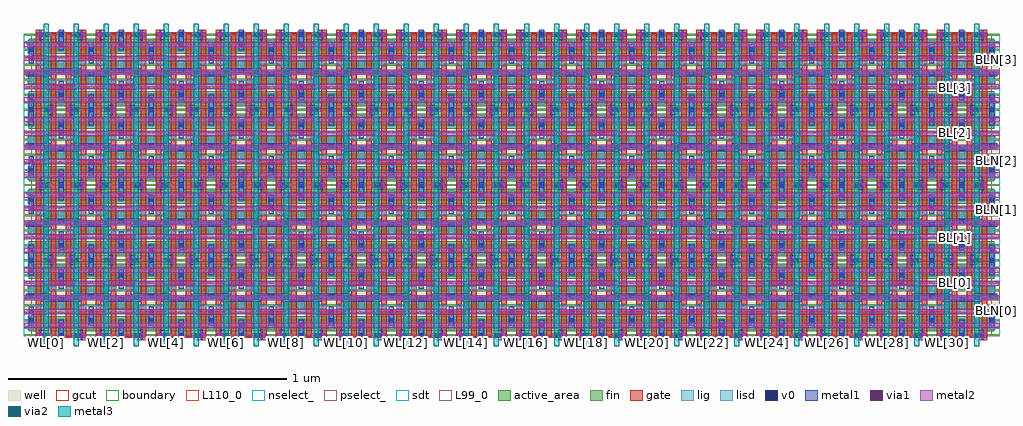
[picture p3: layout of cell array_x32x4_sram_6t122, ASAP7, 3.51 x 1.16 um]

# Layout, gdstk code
from math import pi, radians
import gdstk
lib = gdstk.Library(unit=1e-6, precision=2.5e-10)
def R(c, l, rs):  # rectangles x0, y0, x1, y1
    for r in rs: c.add(gdstk.rectangle(r[:2], r[2:], *l))
def A(c, l, x, y, w, h, nx, ny, dx, dy):  # array of equal rectangles
    R(c, l, [(x+i*dx, y+j*dy, x+i*dx+w, y+j*dy+h) for i in range(nx) for j in range(ny)])
def P(c, l, *ps):  # polygons
    for p in ps: c.add(gdstk.Polygon(p, *l))
well = (1, 0)
fin = (2, 0)
gate = (7, 0)
gcut = (10, 0)
active_area = (11, 0)
nselect_ = (12, 0)
pselect_ = (13, 0)
lig = (16, 0)
lisd = (17, 0)
v0 = (18, 0)
metal1 = (19, 0)
metal2 = (20, 0)
via1 = (21, 0)
via2 = (25, 0)
metal3 = (30, 0)
sdt = (88, 0)
L99_0 = (99, 0)
boundary = (100, 0)
L110_0 = (110, 0)

sram_cell_6t_122 = lib.new_cell('sram_cell_6t_122')
R(sram_cell_6t_122, well, [(-0.027,0.081,0.135,0.189)])
A(sram_cell_6t_122, fin, -0.027, -0.0035, 0.162, 0.007, 1, 11, 0, 0.027)
R(sram_cell_6t_122, gate, [(0.017,-0.019,0.037,0.277), (0.071,-0.007,0.091,0.289)])
R(sram_cell_6t_122, gcut, [(0.054,-0.0085,0.1085,0.0085), (0,0.0715,0.054,0.0885), (0.054,0.1815,0.108,0.1985), (0,0.2615,0.054,0.2785)])
R(sram_cell_6t_122, active_area, [(-0.008,0.0135,0.116,0.0675), (0.046,0.0945,0.116,0.1215), (-0.008,0.1485,0.062,0.1755), (-0.008,0.2025,0.116,0.2565)])
R(sram_cell_6t_122, nselect_, [(-0.027,0,0.135,0.081), (-0.027,0.189,0.135,0.27)])
R(sram_cell_6t_122, pselect_, [(-0.027,0.081,0.135,0.189)])
R(sram_cell_6t_122, lig, [(0.022,-0.008,0.054,0.008), (0.017,0.0935,0.054,0.1095), (0.054,0.1605,0.091,0.1765), (0.054,0.262,0.086,0.278)])
R(sram_cell_6t_122, lisd, [(0.096,-0.013,0.12,0.059), (-0.012,0.0195,0.012,0.0675), (0.042,0.0235,0.066,0.118), (0.096,0.0945,0.12,0.1385), (-0.012,0.1315,0.012,0.1755), (0.042,0.152,0.066,0.2465), (0.096,0.2025,0.12,0.2505), (-0.012,0.2105,0.012,0.283)])
R(sram_cell_6t_122, v0, [(0.0305,-0.009,0.0485,0.009), (0.099,-0.009,0.117,0.009), (-0.009,0.043,0.009,0.061), (0.099,0.1205,0.117,0.1385), (-0.009,0.1315,0.009,0.1495), (0.099,0.209,0.117,0.227), (-0.009,0.261,0.009,0.279), (0.0595,0.261,0.0775,0.279)])
R(sram_cell_6t_122, metal1, [(0.0305,-0.019,0.0485,0.019), (0.099,-0.019,0.117,0.055), (-0.009,0.0345,0.009,0.1025), (0.099,0.1675,0.117,0.2355), (-0.009,0.215,0.009,0.289), (0.0595,0.251,0.0775,0.289)])
P(sram_cell_6t_122, metal1, [(0.127,0.1385),(0.0725,0.1385),(0.0725,0.1495),(-0.019,0.1495),(-0.019,0.1315),(0.0355,0.1315),(0.0355,0.1205),(0.127,0.1205)])
A(sram_cell_6t_122, metal2, -0.027, 0.027, 0.162, 0.018, 1, 3, 0, 0.099)
R(sram_cell_6t_122, metal2, [(0.0215,-0.009,0.072,0.009), (-0.026,0.0745,0.136,0.0925), (-0.026,0.1775,0.136,0.1955), (0.036,0.261,0.0865,0.279)])
R(sram_cell_6t_122, via1, [(0.0305,-0.009,0.0485,0.009), (0.099,0.027,0.117,0.045), (-0.009,0.0745,0.009,0.0925), (0.045,0.126,0.063,0.144), (0.099,0.1775,0.117,0.1955), (-0.009,0.225,0.009,0.243), (0.0595,0.261,0.0775,0.279)])
R(sram_cell_6t_122, via2, [(0.045,-0.009,0.063,0.009), (0.045,0.261,0.063,0.279)])
R(sram_cell_6t_122, metal3, [(0.045,-0.04,0.063,0.31)])
R(sram_cell_6t_122, sdt, [(0.096,0.0135,0.12,0.059), (-0.012,0.0195,0.012,0.0675), (0.042,0.0235,0.066,0.0675), (0.042,0.0945,0.066,0.118), (0.096,0.0945,0.12,0.1215), (-0.012,0.1485,0.012,0.1755), (0.042,0.152,0.066,0.1755), (0.042,0.2025,0.066,0.2465), (0.096,0.2025,0.12,0.2505), (-0.012,0.2105,0.012,0.2565)])
R(sram_cell_6t_122, L99_0, [(0,0,0.108,0.27)])
R(sram_cell_6t_122, boundary, [(0,0,0.108,0.27)])
R(sram_cell_6t_122, L110_0, [(0,0,0.108,0.27)])
sram_cell_6t_122.add(gdstk.Label('vss!', (0.081,0.235), layer=20, texttype=251))
sram_cell_6t_122.add(gdstk.Label('vss!', (0.074,0.036), layer=20, texttype=251))
sram_cell_6t_122.add(gdstk.Label('vdd!', (0.0795,0.1395), layer=20, texttype=251))
sram_cell_6t_122.add(gdstk.Label('BL', (0.13,0.1885), layer=20, texttype=251))
sram_cell_6t_122.add(gdstk.Label('BLN', (-0.018,0.088), layer=20, texttype=251))
sram_cell_6t_122.add(gdstk.Label('WL', (0.0555,-0.028), layer=30, texttype=251))
sram_cell_6t_122.add(gdstk.Label('vdd!', (0.048,0.148), layer=1, texttype=251))
sram_cell_6t_122.add(gdstk.Label('vss!', (0.048,0.2245), layer=3, texttype=251))
sram_cell_6t_122.add(gdstk.Label('vss!', (0.048,0.044), layer=3, texttype=251))

sramcol_x32_sram_6t122 = lib.new_cell('sramcol_x32_sram_6t122')
R(sramcol_x32_sram_6t122, boundary, [(0,0,3.456,0.27)])
sramcol_x32_sram_6t122.add(gdstk.Reference(sram_cell_6t_122, (0,0)))
sramcol_x32_sram_6t122.add(gdstk.Reference(sram_cell_6t_122, (0.216,0), rotation=pi, x_reflection=True))
sramcol_x32_sram_6t122.add(gdstk.Reference(sram_cell_6t_122, (0.216,0)))
sramcol_x32_sram_6t122.add(gdstk.Reference(sram_cell_6t_122, (0.432,0), rotation=pi, x_reflection=True))
sramcol_x32_sram_6t122.add(gdstk.Reference(sram_cell_6t_122, (0.432,0)))
sramcol_x32_sram_6t122.add(gdstk.Reference(sram_cell_6t_122, (0.648,0), rotation=pi, x_reflection=True))
sramcol_x32_sram_6t122.add(gdstk.Reference(sram_cell_6t_122, (0.648,0)))
sramcol_x32_sram_6t122.add(gdstk.Reference(sram_cell_6t_122, (0.864,0), rotation=pi, x_reflection=True))
sramcol_x32_sram_6t122.add(gdstk.Reference(sram_cell_6t_122, (0.864,0)))
sramcol_x32_sram_6t122.add(gdstk.Reference(sram_cell_6t_122, (1.08,0), rotation=pi, x_reflection=True))
sramcol_x32_sram_6t122.add(gdstk.Reference(sram_cell_6t_122, (1.08,0)))
sramcol_x32_sram_6t122.add(gdstk.Reference(sram_cell_6t_122, (1.296,0), rotation=pi, x_reflection=True))
sramcol_x32_sram_6t122.add(gdstk.Reference(sram_cell_6t_122, (1.296,0)))
sramcol_x32_sram_6t122.add(gdstk.Reference(sram_cell_6t_122, (1.512,0), rotation=pi, x_reflection=True))
sramcol_x32_sram_6t122.add(gdstk.Reference(sram_cell_6t_122, (1.512,0)))
sramcol_x32_sram_6t122.add(gdstk.Reference(sram_cell_6t_122, (1.728,0), rotation=pi, x_reflection=True))
sramcol_x32_sram_6t122.add(gdstk.Reference(sram_cell_6t_122, (1.728,0)))
sramcol_x32_sram_6t122.add(gdstk.Reference(sram_cell_6t_122, (1.944,0), rotation=pi, x_reflection=True))
sramcol_x32_sram_6t122.add(gdstk.Reference(sram_cell_6t_122, (1.944,0)))
sramcol_x32_sram_6t122.add(gdstk.Reference(sram_cell_6t_122, (2.16,0), rotation=pi, x_reflection=True))
sramcol_x32_sram_6t122.add(gdstk.Reference(sram_cell_6t_122, (2.16,0)))
sramcol_x32_sram_6t122.add(gdstk.Reference(sram_cell_6t_122, (2.376,0), rotation=pi, x_reflection=True))
sramcol_x32_sram_6t122.add(gdstk.Reference(sram_cell_6t_122, (2.376,0)))
sramcol_x32_sram_6t122.add(gdstk.Reference(sram_cell_6t_122, (2.592,0), rotation=pi, x_reflection=True))
sramcol_x32_sram_6t122.add(gdstk.Reference(sram_cell_6t_122, (2.592,0)))
sramcol_x32_sram_6t122.add(gdstk.Reference(sram_cell_6t_122, (2.808,0), rotation=pi, x_reflection=True))
sramcol_x32_sram_6t122.add(gdstk.Reference(sram_cell_6t_122, (2.808,0)))
sramcol_x32_sram_6t122.add(gdstk.Reference(sram_cell_6t_122, (3.024,0), rotation=pi, x_reflection=True))
sramcol_x32_sram_6t122.add(gdstk.Reference(sram_cell_6t_122, (3.024,0)))
sramcol_x32_sram_6t122.add(gdstk.Reference(sram_cell_6t_122, (3.24,0), rotation=pi, x_reflection=True))
sramcol_x32_sram_6t122.add(gdstk.Reference(sram_cell_6t_122, (3.24,0)))
sramcol_x32_sram_6t122.add(gdstk.Reference(sram_cell_6t_122, (3.456,0), rotation=pi, x_reflection=True))
sramcol_x32_sram_6t122.add(gdstk.Label('WL[0]', (0.0555,-0.028), layer=30, texttype=251))
sramcol_x32_sram_6t122.add(gdstk.Label('WL[1]', (0.1605,-0.028), layer=30, texttype=251))
sramcol_x32_sram_6t122.add(gdstk.Label('WL[2]', (0.2715,-0.028), layer=30, texttype=251))
sramcol_x32_sram_6t122.add(gdstk.Label('WL[3]', (0.3765,-0.028), layer=30, texttype=251))
sramcol_x32_sram_6t122.add(gdstk.Label('WL[4]', (0.4875,-0.028), layer=30, texttype=251))
sramcol_x32_sram_6t122.add(gdstk.Label('WL[5]', (0.5925,-0.028), layer=30, texttype=251))
sramcol_x32_sram_6t122.add(gdstk.Label('WL[6]', (0.7035,-0.028), layer=30, texttype=251))
sramcol_x32_sram_6t122.add(gdstk.Label('WL[7]', (0.8085,-0.028), layer=30, texttype=251))
sramcol_x32_sram_6t122.add(gdstk.Label('WL[8]', (0.9195,-0.028), layer=30, texttype=251))
sramcol_x32_sram_6t122.add(gdstk.Label('WL[9]', (1.0245,-0.028), layer=30, texttype=251))
sramcol_x32_sram_6t122.add(gdstk.Label('WL[10]', (1.1355,-0.028), layer=30, texttype=251))
sramcol_x32_sram_6t122.add(gdstk.Label('WL[11]', (1.2405,-0.028), layer=30, texttype=251))
sramcol_x32_sram_6t122.add(gdstk.Label('WL[12]', (1.3515,-0.028), layer=30, texttype=251))
sramcol_x32_sram_6t122.add(gdstk.Label('WL[13]', (1.4565,-0.028), layer=30, texttype=251))
sramcol_x32_sram_6t122.add(gdstk.Label('WL[14]', (1.5675,-0.028), layer=30, texttype=251))
sramcol_x32_sram_6t122.add(gdstk.Label('WL[15]', (1.6725,-0.028), layer=30, texttype=251))
sramcol_x32_sram_6t122.add(gdstk.Label('WL[16]', (1.7835,-0.028), layer=30, texttype=251))
sramcol_x32_sram_6t122.add(gdstk.Label('WL[17]', (1.8885,-0.028), layer=30, texttype=251))
sramcol_x32_sram_6t122.add(gdstk.Label('WL[18]', (1.9995,-0.028), layer=30, texttype=251))
sramcol_x32_sram_6t122.add(gdstk.Label('WL[19]', (2.1045,-0.028), layer=30, texttype=251))
sramcol_x32_sram_6t122.add(gdstk.Label('WL[20]', (2.2155,-0.028), layer=30, texttype=251))
sramcol_x32_sram_6t122.add(gdstk.Label('WL[21]', (2.3205,-0.028), layer=30, texttype=251))
sramcol_x32_sram_6t122.add(gdstk.Label('WL[22]', (2.4315,-0.028), layer=30, texttype=251))
sramcol_x32_sram_6t122.add(gdstk.Label('WL[23]', (2.5365,-0.028), layer=30, texttype=251))
sramcol_x32_sram_6t122.add(gdstk.Label('WL[24]', (2.6475,-0.028), layer=30, texttype=251))
sramcol_x32_sram_6t122.add(gdstk.Label('WL[25]', (2.7525,-0.028), layer=30, texttype=251))
sramcol_x32_sram_6t122.add(gdstk.Label('WL[26]', (2.8635,-0.028), layer=30, texttype=251))
sramcol_x32_sram_6t122.add(gdstk.Label('WL[27]', (2.9685,-0.028), layer=30, texttype=251))
sramcol_x32_sram_6t122.add(gdstk.Label('WL[28]', (3.0795,-0.028), layer=30, texttype=251))
sramcol_x32_sram_6t122.add(gdstk.Label('WL[29]', (3.1845,-0.028), layer=30, texttype=251))
sramcol_x32_sram_6t122.add(gdstk.Label('WL[30]', (3.2955,-0.028), layer=30, texttype=251))
sramcol_x32_sram_6t122.add(gdstk.Label('WL[31]', (3.4005,-0.028), layer=30, texttype=251))
sramcol_x32_sram_6t122.add(gdstk.Label('BL', (3.326,0.1885), layer=20, texttype=251))
sramcol_x32_sram_6t122.add(gdstk.Label('BLN', (3.474,0.088), layer=20, texttype=251))
sramcol_x32_sram_6t122.add(gdstk.Label('VDD', (3.3765,0.1395), layer=20, texttype=251))
sramcol_x32_sram_6t122.add(gdstk.Label('VSS', (3.375,0.235), layer=20, texttype=251))

array_x32x4_sram_6t122 = lib.new_cell('array_x32x4_sram_6t122')
R(array_x32x4_sram_6t122, boundary, [(0,0,3.456,1.08)])
array_x32x4_sram_6t122.add(gdstk.Reference(sramcol_x32_sram_6t122, (0,0)))
array_x32x4_sram_6t122.add(gdstk.Reference(sramcol_x32_sram_6t122, (0,0.54), x_reflection=True))
array_x32x4_sram_6t122.add(gdstk.Reference(sramcol_x32_sram_6t122, (0,0.54)))
array_x32x4_sram_6t122.add(gdstk.Reference(sramcol_x32_sram_6t122, (0,1.08), x_reflection=True))
array_x32x4_sram_6t122.add(gdstk.Label('WL[0]', (0.0555,-0.028), layer=30, texttype=251))
array_x32x4_sram_6t122.add(gdstk.Label('WL[1]', (0.1605,-0.028), layer=30, texttype=251))
array_x32x4_sram_6t122.add(gdstk.Label('WL[2]', (0.2715,-0.028), layer=30, texttype=251))
array_x32x4_sram_6t122.add(gdstk.Label('WL[3]', (0.3765,-0.028), layer=30, texttype=251))
array_x32x4_sram_6t122.add(gdstk.Label('WL[4]', (0.4875,-0.028), layer=30, texttype=251))
array_x32x4_sram_6t122.add(gdstk.Label('WL[5]', (0.5925,-0.028), layer=30, texttype=251))
array_x32x4_sram_6t122.add(gdstk.Label('WL[6]', (0.7035,-0.028), layer=30, texttype=251))
array_x32x4_sram_6t122.add(gdstk.Label('WL[7]', (0.8085,-0.028), layer=30, texttype=251))
array_x32x4_sram_6t122.add(gdstk.Label('WL[8]', (0.9195,-0.028), layer=30, texttype=251))
array_x32x4_sram_6t122.add(gdstk.Label('WL[9]', (1.0245,-0.028), layer=30, texttype=251))
array_x32x4_sram_6t122.add(gdstk.Label('WL[10]', (1.1355,-0.028), layer=30, texttype=251))
array_x32x4_sram_6t122.add(gdstk.Label('WL[11]', (1.2405,-0.028), layer=30, texttype=251))
array_x32x4_sram_6t122.add(gdstk.Label('WL[12]', (1.3515,-0.028), layer=30, texttype=251))
array_x32x4_sram_6t122.add(gdstk.Label('WL[13]', (1.4565,-0.028), layer=30, texttype=251))
array_x32x4_sram_6t122.add(gdstk.Label('WL[14]', (1.5675,-0.028), layer=30, texttype=251))
array_x32x4_sram_6t122.add(gdstk.Label('WL[15]', (1.6725,-0.028), layer=30, texttype=251))
array_x32x4_sram_6t122.add(gdstk.Label('WL[16]', (1.7835,-0.028), layer=30, texttype=251))
array_x32x4_sram_6t122.add(gdstk.Label('WL[17]', (1.8885,-0.028), layer=30, texttype=251))
array_x32x4_sram_6t122.add(gdstk.Label('WL[18]', (1.9995,-0.028), layer=30, texttype=251))
array_x32x4_sram_6t122.add(gdstk.Label('WL[19]', (2.1045,-0.028), layer=30, texttype=251))
array_x32x4_sram_6t122.add(gdstk.Label('WL[20]', (2.2155,-0.028), layer=30, texttype=251))
array_x32x4_sram_6t122.add(gdstk.Label('WL[21]', (2.3205,-0.028), layer=30, texttype=251))
array_x32x4_sram_6t122.add(gdstk.Label('WL[22]', (2.4315,-0.028), layer=30, texttype=251))
array_x32x4_sram_6t122.add(gdstk.Label('WL[23]', (2.5365,-0.028), layer=30, texttype=251))
array_x32x4_sram_6t122.add(gdstk.Label('WL[24]', (2.6475,-0.028), layer=30, texttype=251))
array_x32x4_sram_6t122.add(gdstk.Label('WL[25]', (2.7525,-0.028), layer=30, texttype=251))
array_x32x4_sram_6t122.add(gdstk.Label('WL[26]', (2.8635,-0.028), layer=30, texttype=251))
array_x32x4_sram_6t122.add(gdstk.Label('WL[27]', (2.9685,-0.028), layer=30, texttype=251))
array_x32x4_sram_6t122.add(gdstk.Label('WL[28]', (3.0795,-0.028), layer=30, texttype=251))
array_x32x4_sram_6t122.add(gdstk.Label('WL[29]', (3.1845,-0.028), layer=30, texttype=251))
array_x32x4_sram_6t122.add(gdstk.Label('WL[30]', (3.2955,-0.028), layer=30, texttype=251))
array_x32x4_sram_6t122.add(gdstk.Label('WL[31]', (3.4005,-0.028), layer=30, texttype=251))
array_x32x4_sram_6t122.add(gdstk.Label('BL[0]', (3.326,0.1885), layer=20, texttype=251))
array_x32x4_sram_6t122.add(gdstk.Label('BLN[0]', (3.474,0.088), layer=20, texttype=251))
array_x32x4_sram_6t122.add(gdstk.Label('BL[1]', (3.326,0.3515), layer=20, texttype=251))
array_x32x4_sram_6t122.add(gdstk.Label('BLN[1]', (3.474,0.452), layer=20, texttype=251))
array_x32x4_sram_6t122.add(gdstk.Label('BL[2]', (3.326,0.7285), layer=20, texttype=251))
array_x32x4_sram_6t122.add(gdstk.Label('BLN[2]', (3.474,0.628), layer=20, texttype=251))
array_x32x4_sram_6t122.add(gdstk.Label('BL[3]', (3.326,0.8915), layer=20, texttype=251))
array_x32x4_sram_6t122.add(gdstk.Label('BLN[3]', (3.474,0.992), layer=20, texttype=251))
array_x32x4_sram_6t122.add(gdstk.Label('VDD', (3.3765,0.1395), layer=20, texttype=251))
array_x32x4_sram_6t122.add(gdstk.Label('VDD', (3.3765,0.4005), layer=20, texttype=251))
array_x32x4_sram_6t122.add(gdstk.Label('VDD', (3.3765,0.6795), layer=20, texttype=251))
array_x32x4_sram_6t122.add(gdstk.Label('VDD', (3.3765,0.9405), layer=20, texttype=251))
array_x32x4_sram_6t122.add(gdstk.Label('VSS', (3.375,0.235), layer=20, texttype=251))
array_x32x4_sram_6t122.add(gdstk.Label('VSS', (3.375,0.305), layer=20, texttype=251))
array_x32x4_sram_6t122.add(gdstk.Label('VSS', (3.375,0.775), layer=20, texttype=251))
array_x32x4_sram_6t122.add(gdstk.Label('VSS', (3.375,0.845), layer=20, texttype=251))

lib.write_gds('array_x32x4_sram_6t122.gds')
